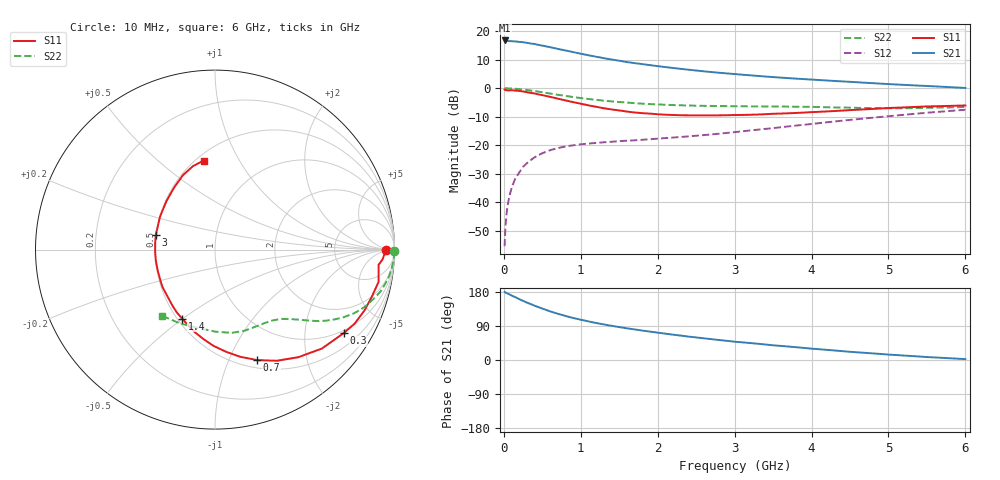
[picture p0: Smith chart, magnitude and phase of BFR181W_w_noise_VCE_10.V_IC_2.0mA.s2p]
! Infineon Technologies  Discrete & RF Semiconductors
! BFR181W
! VCE =  10. V,  IC =  2.0 mA
! Common Emitter S-Parameters:  Jan 2017
# GHz  S  MA  R  50
!  f  S11  S21  S12  S22
! GHz  MAG  ANG  MAG  ANG  MAG  ANG  MAG  ANG
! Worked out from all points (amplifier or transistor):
!   77 points, 10 MHz to 6 GHz, reference 50 ohm
!   highest |S21| = 16.8 dB at 10 MHz (marker M1)
!   |S21| within 3 dB of that: start of sweep to 709.7 MHz
!   unconditionally stable (mu >= 1): 1.908 GHz to 3.974 GHz
!   at 130 MHz: K = 0.07, MSG = 24.7 dB, |S12| = -32.9 dB
!   at 2.2 GHz: K = 1.07, MAG = 10.6 dB, |S12| = -17.3 dB
!   at 6 GHz: K = 0.84, MSG = 3.8 dB, |S12| = -7.5 dB
!   lowest NFmin = 0.84 dB at 450 MHz
!   S11 on the Smith chart (normalised r, x): 10 MHz: 40, -3; 300 MHz: 0.91, -3.14; 700 MHz: 0.59, -1.28; 1.4 GHz: 0.53, -0.50; 3 GHz: 0.50, +0.09; 6 GHz: 0.55, +0.72
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0.01  0.952 -0.2  6.907 179.8  0.0017 83.3  1 -0.6
0.02  0.9347 -3.4  6.863 177.9  0.0036 96.4  0.9969 -1.0
0.04  0.9216 -4.7  6.801 176.2  0.0071 87.8  0.9972 -2.3
0.09  0.9253 -10.0  6.713 171.4  0.0158 84.7  0.9918 -5.1
0.15  0.9112 -17.2  6.638 165.7  0.0261 80.4  0.9816 -8.6
0.2  0.899 -22.2  6.523 160.6  0.0334 77.0  0.9675 -11.3
0.3  0.8547 -33.0  6.279 151.5  0.0485 70.2  0.9337 -16.3
0.4  0.8116 -42.8  5.98 143.2  0.0616 65.3  0.895 -20.8
0.5  0.7585 -52.2  5.613 135.7  0.0726 60.4  0.8524 -24.6
0.6  0.7089 -60.9  5.272 128.5  0.0819 56.4  0.8103 -27.7
0.7  0.6589 -69.1  4.92 122.1  0.089 53.7  0.7709 -30.3
0.9  0.5721 -83.9  4.316 110.9  0.0998 48.9  0.7032 -34.5
1.1  0.5024 -97.4  3.803 101.9  0.1073 46.6  0.6491 -37.5
1.4  0.4259 -115.5  3.201 90.3  0.1153 44.6  0.5892 -41.3
1.7  0.3765 -133.1  2.764 80.7  0.1224 45.2  0.5484 -44.8
2.1  0.3442 -154.5  2.357 69.5  0.1338 47.3  0.5146 -49.7
2.4  0.3354 -169.6  2.12 61.8  0.1434 49.5  0.4989 -54.0
3  0.3399 165.9  1.778 48.3  0.1701 53.3  0.4842 -62.7
3.1  0.3409 162.4  1.733 46.6  0.1761 53.8  0.4829 -64.2
4.1  0.3871 132.6  1.396 28.4  0.2448 55.1  0.4685 -80.8
5.1  0.4563 111.6  1.167 13.1  0.3332 50.3  0.4467 -104.9
6  0.5001 97.2  1.015 2.3  0.4205 42.5  0.4712 -128.5
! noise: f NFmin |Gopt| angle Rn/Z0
0.45  0.84  0.56  18  0.32
0.9  0.9  0.51  33  0.3
1.9  1.35  0.31  81  0.23
2.4  1.58  0.27  95  0.25
